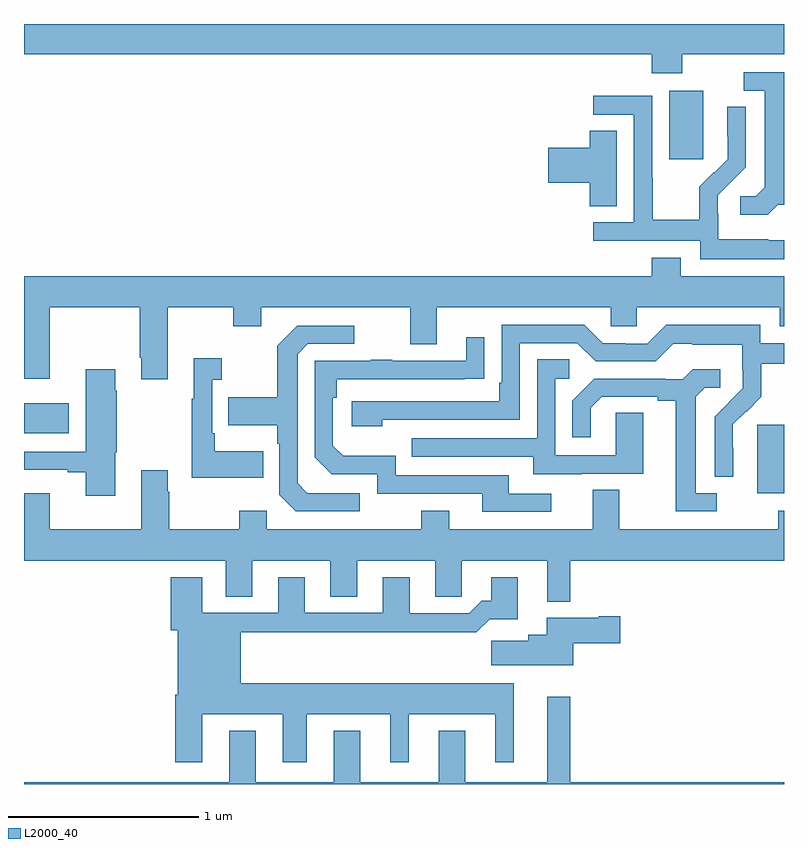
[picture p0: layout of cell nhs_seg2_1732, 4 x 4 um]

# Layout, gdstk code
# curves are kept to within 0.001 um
import gdstk
lib = gdstk.Library(unit=1e-6, precision=1e-09)
def R(c, l, rs):  # rectangles x0, y0, x1, y1
    for r in rs: c.add(gdstk.rectangle(r[:2], r[2:], *l))
def P(c, l, *ps):  # polygons
    for p in ps: c.add(gdstk.Polygon(p, *l))
L2000_40 = (2000, 40)

nhs_seg2_1732 = lib.new_cell('nhs_seg2_1732')
R(nhs_seg2_1732, L2000_40, [(204.86,641.33,205,641.691), (201,641.645,201.235,641.803), (204.395,643.089,204.574,643.45)])
P(nhs_seg2_1732, L2000_40, [(204.465,643.64),(205,643.64),(205,643.8),(201,643.8),(201,643.64),(204.305,643.64),(204.305,643.541),(204.465,643.541)],
  [(204.966,642.849),(205,642.849),(205,643.545),(204.789,643.545),(204.789,643.449),(204.899,643.449),(204.899,642.941),(204.852,642.894),(204.771,642.894),(204.771,642.797),(204.914,642.797)],
  [(205,642.663),(204.917,642.663),(204.917,642.667),(204.654,642.667),(204.654,642.801),(204.652,642.801),(204.652,642.898),(204.798,643.046),(204.798,643.364),(204.702,643.364),(204.702,643.21),(204.704,643.21),(204.704,643.088),(204.633,643.017),(204.63,643.02),(204.553,642.943),(204.553,642.769),(204.309,642.769),(204.309,642.992),(204.306,642.992),(204.306,643.422),(203.997,643.422),(203.997,643.323),(204.21,643.323),(204.21,642.756),(203.997,642.756),(203.997,642.66),(204.558,642.66),(204.558,642.563),(205,642.563)],
  [(204.121,643.238),(203.978,643.238),(203.978,643.148),(203.76,643.148),(203.76,642.965),(203.978,642.965),(203.978,642.841),(204.121,642.841)],
  [(201.757,642.308),(202.102,642.308),(202.102,642.209),(202.249,642.209),(202.249,642.308),(203.033,642.308),(203.033,642.114),(203.173,642.114),(203.173,642.308),(204.087,642.308),(204.087,642.21),(204.225,642.21),(204.225,642.308),(204.977,642.308),(204.977,642.209),(205,642.209),(205,642.472),(204.457,642.472),(204.457,642.571),(204.305,642.571),(204.305,642.472),(201,642.472),(201,641.934),(201.136,641.934),(201.136,642.308),(201.61,642.308),(201.61,642.043),(201.617,642.043),(201.617,641.931),(201.757,641.931)],
  [(204.732,641.57),(204.731,641.693),(204.801,641.763),(204.804,641.76),(204.881,641.837),(204.881,642.012),(205,642.012),(205,642.12),(204.876,642.12),(204.876,642.217),(204.379,642.217),(204.279,642.117),(204.164,642.117),(204.164,642.12),(204.045,642.12),(203.949,642.216),(203.514,642.216),(203.514,641.911),(203.501,641.911),(203.501,641.814),(202.725,641.814),(202.725,641.684),(202.886,641.684),(202.886,641.718),(203.61,641.718),(203.61,642.12),(203.913,642.12),(204.009,642.024),(204.324,642.024),(204.417,642.117),(204.517,642.117),(204.517,642.113),(204.78,642.113),(204.78,641.979),(204.782,641.979),(204.782,641.882),(204.636,641.734),(204.636,641.416),(204.732,641.416)],
  [(202.768,641.331),(202.491,641.331),(202.44,641.382),(202.44,642.063),(202.494,642.117),(202.738,642.117),(202.738,642.213),(202.437,642.213),(202.332,642.107),(202.332,641.835),(202.075,641.835),(202.075,641.687),(202.332,641.687),(202.332,641.591),(202.344,641.591),(202.344,641.322),(202.431,641.235),(202.768,641.235)],
  [(203.776,641.328),(203.551,641.328),(203.551,641.424),(202.956,641.424),(202.956,641.527),(202.679,641.527),(202.626,641.58),(202.626,641.834),(202.646,641.834),(202.646,641.931),(203.423,641.932),(203.423,642.151),(203.327,642.151),(203.327,642.027),(202.937,642.027),(202.937,642.032),(202.825,642.032),(202.825,642.027),(202.53,642.027),(202.53,641.52),(202.62,641.43),(202.86,641.43),(202.86,641.328),(203.411,641.328),(203.411,641.232),(203.776,641.232)],
  [(202.259,641.551),(202.003,641.551),(202.003,641.647),(201.99,641.647),(201.99,641.927),(202.042,641.927),(202.042,642.04),(201.893,642.04),(201.893,641.827),(201.882,641.827),(201.882,641.411),(202.259,641.411)],
  [(203.935,641.433),(204.259,641.433),(204.259,641.753),(204.114,641.753),(204.114,641.529),(203.796,641.529),(203.796,641.934),(203.869,641.934),(203.869,642.035),(203.7,642.035),(203.7,641.619),(203.041,641.619),(203.041,641.523),(203.681,641.523),(203.681,641.429),(203.935,641.429)],
  [(201.481,641.547),(201.489,641.547),(201.489,641.87),(201.481,641.87),(201.481,641.983),(201.326,641.983),(201.326,641.55),(201,641.55),(201,641.454),(201.23,641.454),(201.23,641.442),(201.326,641.442),(201.326,641.316),(201.481,641.316)],
  [(204.646,641.331),(204.535,641.331),(204.535,641.839),(204.582,641.886),(204.664,641.886),(204.664,641.983),(204.52,641.983),(204.468,641.931),(204.374,641.931),(204.374,641.934),(204.002,641.934),(203.886,641.818),(203.886,641.625),(203.983,641.625),(203.983,641.781),(204.04,641.838),(204.335,641.838),(204.335,641.816),(204.431,641.816),(204.431,641.235),(204.646,641.235)],
  [(203.875,640.976),(205,640.976),(205,641.239),(204.97,641.239),(204.97,641.14),(204.133,641.14),(204.133,641.348),(203.993,641.348),(203.993,641.14),(203.239,641.14),(203.239,641.239),(203.092,641.239),(203.092,641.14),(202.278,641.14),(202.278,641.239),(202.132,641.239),(202.132,641.14),(201.765,641.14),(201.765,641.339),(201.757,641.339),(201.757,641.452),(201.617,641.452),(201.617,641.14),(201.136,641.14),(201.136,641.329),(201,641.329),(201,640.976),(202.061,640.976),(202.061,640.786),(202.201,640.786),(202.201,640.976),(202.613,640.976),(202.613,640.786),(202.753,640.786),(202.753,640.976),(203.165,640.976),(203.165,640.786),(203.304,640.786),(203.304,640.976),(203.753,640.976),(203.753,640.76),(203.875,640.76)],
  [(201.937,640.166),(202.361,640.166),(202.361,639.915),(202.489,639.915),(202.489,640.166),(202.928,640.166),(202.928,639.915),(203.026,639.915),(203.026,640.166),(203.48,640.166),(203.48,639.915),(203.578,639.915),(203.578,640.33),(202.141,640.33),(202.141,640.6),(203.125,640.6),(203.125,640.598),(203.381,640.598),(203.45,640.667),(203.599,640.667),(203.599,640.888),(203.459,640.888),(203.459,640.765),(203.41,640.765),(203.343,640.698),(203.029,640.698),(203.029,640.888),(202.889,640.888),(202.889,640.701),(202.477,640.701),(202.477,640.888),(202.337,640.888),(202.337,640.701),(201.937,640.701),(201.937,640.888),(201.773,640.888),(201.773,640.608),(201.809,640.608),(201.809,640.27),(201.797,640.27),(201.797,639.915),(201.937,639.915)],
  [(203.89,640.541),(204.139,640.541),(204.139,640.683),(204.026,640.683),(204.026,640.675),(203.75,640.675),(203.75,640.585),(203.654,640.585),(203.654,640.553),(203.46,640.553),(203.46,640.424),(203.89,640.424)],
  [(205,639.808),(203.875,639.808),(203.875,640.258),(203.753,640.258),(203.753,639.808),(203.323,639.808),(203.323,640.081),(203.183,640.081),(203.183,639.808),(202.771,639.808),(202.771,640.081),(202.631,640.081),(202.631,639.808),(202.219,639.808),(202.219,640.081),(202.079,640.081),(202.079,639.808),(201,639.808),(201,639.8),(205,639.8)])

lib.write_gds('nhs_seg2_1732.gds')
